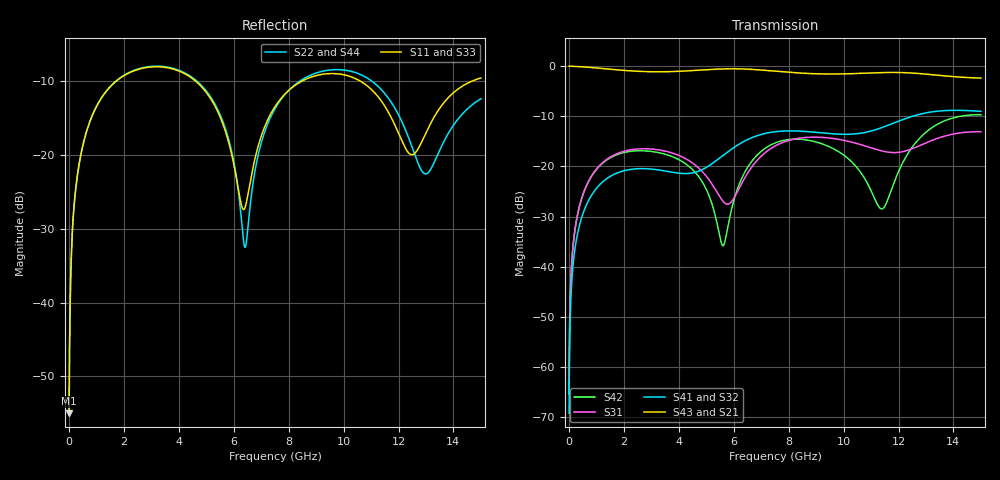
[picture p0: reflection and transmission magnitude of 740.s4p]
! Created with skrf 1.8.0 (http://scikit-rf.org).
# GHz S RI R 50.0
!freq ReS11 ImS11 ReS12 ImS12 ReS13 ImS13
! ReS14 ImS14
! ReS21 ImS21 ReS22 ImS22 ReS23 ImS23
! ReS24 ImS24
! ReS31 ImS31 ReS32 ImS32 ReS33 ImS33
! ReS34 ImS34
! ReS41 ImS41 ReS42 ImS42 ReS43 ImS43
! ReS44 ImS44
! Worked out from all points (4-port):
!   2499 points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, 5 MHz to 15 GHz, reference 50 ohm
!   strongest paths, dB at 5 MHz, 3.476 GHz, 7.19 GHz, 11.1 GHz, 15 GHz:
!     S43: 0.0, -1.1, -0.9, -1.3, -2.4
!     S21: 0.0, -1.1, -0.9, -1.4, -2.4
!     S41: -69.3, -20.9, -13.4, -12.8, -9.0
!     S32: -69.3, -21.0, -13.4, -12.8, -9.2
!     S31: -65.4, -16.9, -17.1, -16.5, -13.1
!     S42: -65.4, -17.5, -16.2, -26.0, -9.7
!   lowest |S11| = -55.0 dB at 5 MHz (marker M1), VSWR 1.00, Z = 50.1 + j0.108 ohm
!   |S11| at or under -10 dB: start of sweep to 1.716 GHz; 4.616 GHz to 8.478 GHz (3.862 GHz wide, 59 % of centre); 10.62 GHz to 14.67 GHz (4.05 GHz wide, 32 % of centre)
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0.005  0.00141 0.00108  0.9986 -0.00275  6.94e-05 0.000532  -6.75e-05 -0.000338
       0.9986 -0.00275  0.00141 0.00108  -6.75e-05 -0.000338  6.92e-05 0.000533
       6.94e-05 0.000532  -6.75e-05 -0.000338  0.00141 0.00108  0.9986 -0.00275
       -6.75e-05 -0.000338  6.92e-05 0.000533  0.9986 -0.00275  0.00141 0.00108
0.3126303  0.0186 0.0717  0.9747 -0.172  0.00829 0.032  -0.00671 -0.0203
           0.9747 -0.172  0.0187 0.0717  -0.0067 -0.0203  0.00769 0.0322
           0.00829 0.032  -0.0067 -0.0203  0.0186 0.0717  0.9747 -0.172
           -0.00671 -0.0203  0.00769 0.0322  0.9747 -0.172  0.0187 0.0717
1.569404  0.228 0.193  0.6346 -0.6756  0.1105 0.0622  -0.0791 -0.0193
          0.6346 -0.6756  0.2307 0.1916  -0.0789 -0.0194  0.1016 0.072
          0.1105 0.0622  -0.0789 -0.0194  0.2281 0.1929  0.6346 -0.6756
          -0.0791 -0.0193  0.1016 0.072  0.6346 -0.6756  0.2306 0.1916
5.602334  0.094 -0.1328  -0.8389 -0.418  -0.0372 -0.0255  -0.0517 0.1173
          -0.8389 -0.418  0.0805 -0.1489  -0.0544 0.116  0.0154 0.00493
          -0.0372 -0.0255  -0.0544 0.116  0.0932 -0.1323  -0.839 -0.418
          -0.0517 0.1173  0.0154 0.00493  -0.839 -0.418  0.0805 -0.148
6.352647  0.0425 -0.00342  -0.9342 -0.0617  -0.0224 0.0691  -0.00594 0.1762
          -0.9342 -0.0617  0.023 -0.0137  -0.00965 0.176  0.0254 0.0783
          -0.0224 0.0691  -0.00965 0.176  0.0421 -0.00231  -0.9343 -0.0617
          -0.00594 0.1762  0.0254 0.0783  -0.9343 -0.0617  0.023 -0.0131
10.27928  0.3294 -0.0787  0.1676 0.8227  0.078 -0.1565  0.1881 -0.0923
          0.1676 0.8227  0.3544 -0.102  0.1898 -0.0838  0.1063 -0.0353
          0.078 -0.1565  0.1898 -0.0838  0.3285 -0.0809  0.1669 0.8234
          0.1881 -0.0923  0.1063 -0.0353  0.1669 0.8234  0.3523 -0.0996
15  0.3292 0.0466  0.4761 -0.5941  0.1967 0.1014  -0.3271 -0.135
    0.4761 -0.5941  0.2319 0.0643  -0.3151 -0.1477  0.3267 -0.00278
    0.1967 0.1014  -0.3151 -0.1477  0.3392 0.0476  0.4769 -0.5918
    -0.3271 -0.135  0.3267 -0.00278  0.4769 -0.5918  0.2245 0.0717
